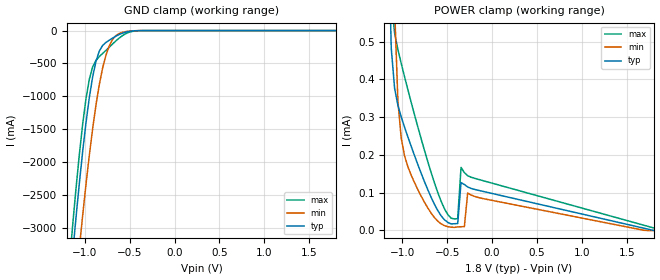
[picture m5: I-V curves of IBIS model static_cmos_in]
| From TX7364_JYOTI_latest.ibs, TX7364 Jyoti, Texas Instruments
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|   Model static_cmos_in
[Model] static_cmos_in
Model_type Input
Polarity   Non-Inverting
Enable   Active-High
Vinl =  0.450V
Vinh =  1.350V
C_comp   2.481pF   2.448pF   2.556pF
[Model Spec]
Vinh   1.350V   1.350V   1.350V
Vinl   0.450V   0.450V   0.450V
[Temperature Range]   25.000   0.125k   -40.000
[Voltage Range]   1.800V   1.700V   1.900V
C_comp   2.481pF   2.448pF   2.556pF
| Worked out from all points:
|   GND clamp passes 1 mA (typ) near -0.40 V on its own axis
|   POWER clamp passes 1 mA (typ) near -1.17 V on its own axis
[GND_clamp]
|Voltage   I(typ)   I(min)   I(max)
-1.8V     -15.28A    -15.78A    -15.3A
-1.171V   -3.959A    -4.928A    -3.546A
-1.134V   -3.389A    -4.372A    -2.959A
-1.097V   -2.843A    -3.833A    -2.402A
-1.06V    -2.324A    -3.312A    -1.886A
-1.023V   -1.841A    -2.814A    -1.424A
-949mV    -1.02A     -1.9A      -741.6mA
-875mV    -469mA     -1.134A    -455.3mA
-764mV    -181.2mA   -375.9mA   -302.5mA
-616mV    -59.58mA   -43.9mA    -113.5mA
-394mV    -872.9uA   -948.2uA   -1.57mA
1.8V      0A         0A         0A
[POWER_clamp]
|Voltage   I(typ)   I(min)   I(max)
-1.8V     18.24mA    15.09mA    23.27mA
-1.16V    840.1uA    1.977mA    974.7uA
-1.123V   482.2uA    1.221mA    610.9uA
-1.086V   376.7uA    591.9uA    522.8uA
-1.049V   331.2uA    342.7uA    478.8uA
-975mV    273.4uA    197.6uA    407uA
-568mV    39.04uA    17.58uA    77.41uA
-383mV    18.29uA    9.516uA    31.36uA
-346mV    126.7uA    9.885uA    166.9uA
-309mV    121.7uA    10.1uA     153.2uA
-272mV    115.2uA    98.99uA    145uA
1.8V      0A         0A         6.593uA
